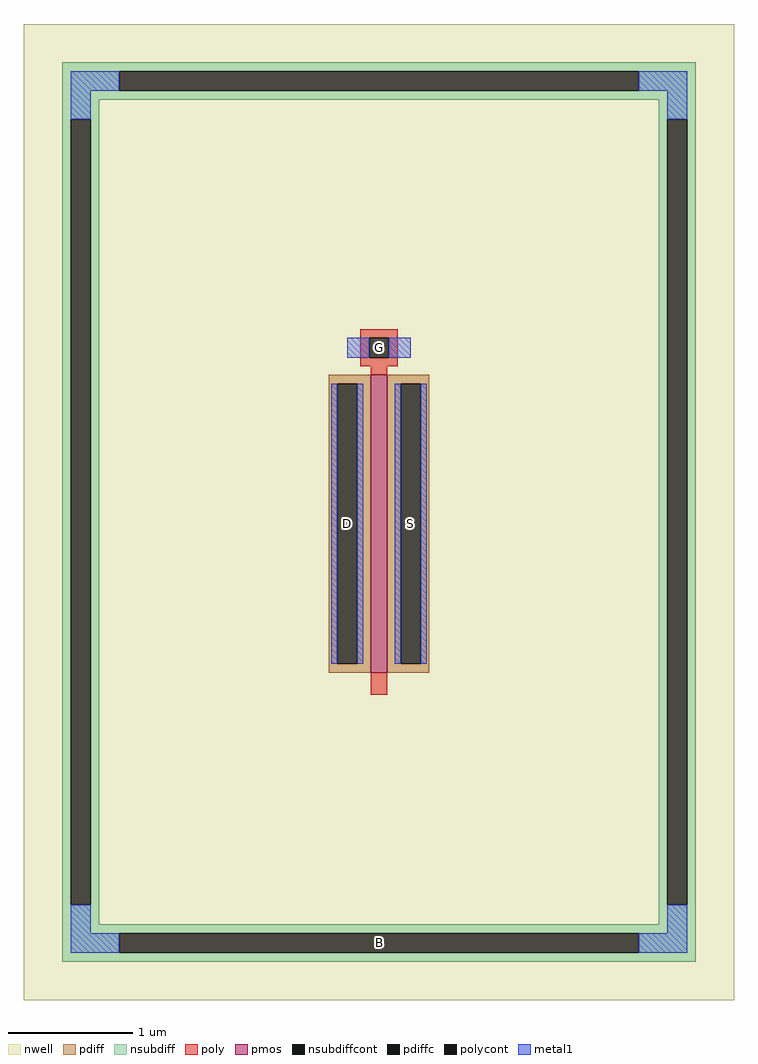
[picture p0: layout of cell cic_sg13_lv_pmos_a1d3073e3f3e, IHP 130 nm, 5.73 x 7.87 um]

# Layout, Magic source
magic
tech ihp-sg13cmos5l
magscale 1 2
<< nwell >>
rect -573 -787 573 787
<< pmos >>
rect -13 -259 13 221
<< pdiff >>
rect -81 207 -13 221
rect -81 -245 -67 207
rect -35 -245 -13 207
rect -81 -259 -13 -245
rect 13 207 81 221
rect 13 -245 35 207
rect 67 -245 81 207
rect 13 -259 81 -245
<< pdiffc >>
rect -67 -245 -35 207
rect 35 -245 67 207
<< nsubdiff >>
rect -511 711 511 725
rect -511 679 -419 711
rect 419 679 511 711
rect -511 665 511 679
rect -511 633 -451 665
rect -511 -633 -497 633
rect -465 -633 -451 633
rect 451 633 511 665
rect -511 -665 -451 -633
rect 451 -633 465 633
rect 497 -633 511 633
rect 451 -665 511 -633
rect -511 -679 511 -665
rect -511 -711 -419 -679
rect 419 -711 511 -679
rect -511 -725 511 -711
<< nsubdiffcont >>
rect -419 679 419 711
rect -497 -633 -465 633
rect 465 -633 497 633
rect -419 -711 419 -679
<< poly >>
rect -30 281 30 295
rect -30 249 -16 281
rect 16 249 30 281
rect -30 235 30 249
rect -13 221 13 235
rect -13 -295 13 -259
<< polycont >>
rect -16 249 16 281
<< metal1 >>
rect -497 679 -419 711
rect 419 679 497 711
rect -497 633 -465 679
rect 465 633 497 679
rect -51 249 -16 281
rect 16 249 51 281
rect -77 -245 -67 207
rect -35 -245 -25 207
rect 25 -245 35 207
rect 67 -245 77 207
rect -497 -679 -465 -633
rect 465 -679 497 -633
rect -497 -711 -419 -679
rect 419 -711 497 -679
<< labels >>
rlabel nsubdiffcont 0 -695 0 -695 0 B
port 1 nsew
rlabel pdiffc -51 -19 -51 -19 0 D
port 2 nsew
rlabel pdiffc 51 -19 51 -19 0 S
port 3 nsew
rlabel polycont 0 265 0 265 0 G
port 4 nsew
<< properties >>
string FIXED_BBOX -481 -695 481 695
string gencell sg13_lv_pmos
string library sg13cmos5l
string parameters w 2.4 l 0.13 m 1 ng 1 diffcov 100 polycov 100 guard 1 glc 1 grc 1 gtc 1 gbc 1 tbcov 100 rlcov 100 topc 1 botc 0 poverlap 0 doverlap 1 lmin 0.13 wmin 0.15 class mosfet compatible {sg13_lv_pmos sg13_hv_pmos} full_metal 1 conn_gates 1 gate_ring 0 ccols 1 viasrc 0 viadrn 0 viagate 0 viagb 0 viagr 0 viagl 0 viagt 0 doports 1 set_x_to_guard 2.0 set_y_to_guard 2.0
<< end >>
